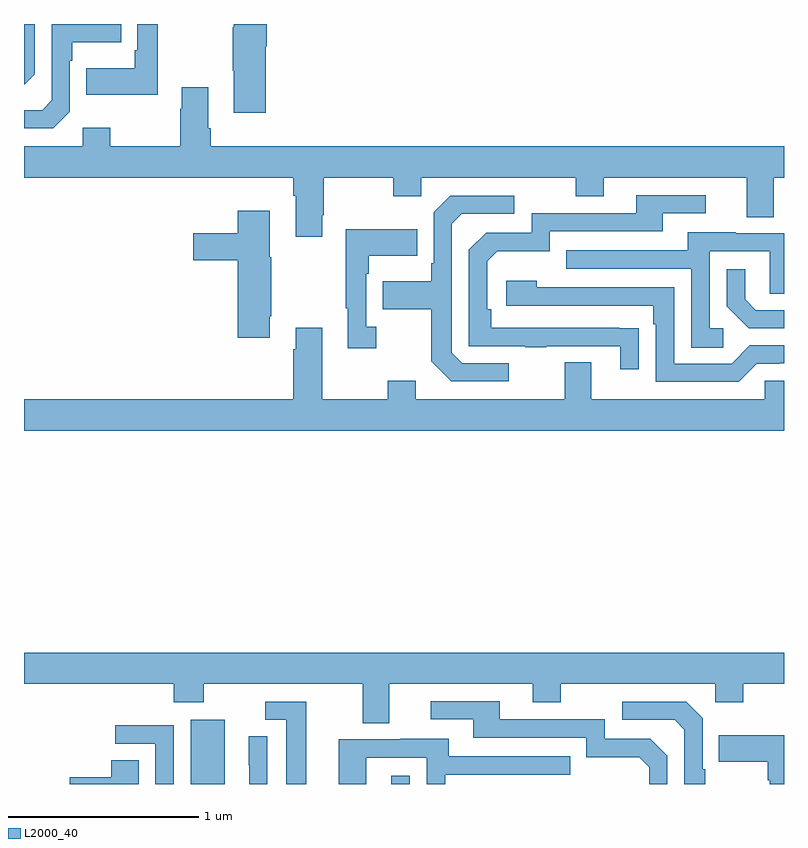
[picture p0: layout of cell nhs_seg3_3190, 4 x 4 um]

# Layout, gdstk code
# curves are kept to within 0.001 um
import gdstk
lib = gdstk.Library(unit=1e-6, precision=1e-09)
def R(c, l, rs):  # rectangles x0, y0, x1, y1
    for r in rs: c.add(gdstk.rectangle(r[:2], r[2:], *l))
def P(c, l, *ps):  # polygons
    for p in ps: c.add(gdstk.Polygon(p, *l))
L2000_40 = (2000, 40)

nhs_seg3_3190 = lib.new_cell('nhs_seg3_3190')
R(nhs_seg3_3190, L2000_40, [(277.877,688.4,278.056,688.738), (278.933,688.4,279.03,688.444)])
P(nhs_seg3_3190, L2000_40, [(277.705,692.4),(277.596,692.4),(277.596,692.263),(277.584,692.263),(277.584,692.167),(277.327,692.167),(277.327,692.027),(277.705,692.027)],
  [(278.273,692.283),(278.278,692.283),(278.278,692.4),(278.105,692.4),(278.105,692.383),(278.098,692.383),(278.098,692.155),(278.105,692.155),(278.105,691.932),(278.273,691.932)],
  [(277.242,691.938),(277.242,692.207),(277.255,692.207),(277.255,692.303),(277.511,692.303),(277.511,692.4),(277.146,692.4),(277.146,691.998),(277.095,691.947),(277,691.947),(277,691.851),(277.155,691.851)],
  [(277.056,692.136),(277.056,692.4),(277,692.4),(277,692.08)],
  [(278.569,691.393),(278.577,691.393),(278.577,691.592),(278.944,691.592),(278.944,691.493),(279.09,691.493),(279.09,691.592),(279.904,691.592),(279.904,691.493),(280.051,691.493),(280.051,691.592),(280.805,691.592),(280.805,691.384),(280.945,691.384),(280.945,691.592),(281,691.592),(281,691.756),(277.982,691.756),(277.982,691.852),(277.969,691.852),(277.969,692.068),(277.829,692.068),(277.829,691.955),(277.822,691.955),(277.822,691.756),(277.455,691.756),(277.455,691.855),(277.308,691.855),(277.308,691.756),(277,691.756),(277,691.592),(278.417,691.592),(278.417,691.496),(278.429,691.496),(278.429,691.281),(278.569,691.281)],
  [(280.235,690.8),(279.458,690.801),(279.458,690.898),(279.438,690.898),(279.438,691.152),(279.491,691.205),(279.768,691.205),(279.768,691.308),(280.363,691.308),(280.363,691.404),(280.588,691.404),(280.588,691.5),(280.223,691.5),(280.223,691.404),(279.672,691.404),(279.672,691.302),(279.432,691.302),(279.342,691.212),(279.342,690.705),(279.637,690.705),(279.637,690.7),(279.749,690.7),(279.749,690.705),(280.139,690.705),(280.139,690.582),(280.235,690.582)],
  [(279.55,690.615),(279.306,690.615),(279.252,690.669),(279.252,691.35),(279.303,691.401),(279.58,691.401),(279.58,691.497),(279.243,691.497),(279.156,691.41),(279.156,691.141),(279.144,691.141),(279.144,691.045),(278.887,691.045),(278.887,690.898),(279.144,690.898),(279.144,690.625),(279.249,690.519),(279.55,690.519)],
  [(278.293,690.862),(278.301,690.862),(278.301,691.173),(278.293,691.173),(278.293,691.417),(278.126,691.417),(278.126,691.299),(277.89,691.299),(277.89,691.157),(278.126,691.157),(278.126,690.75),(278.293,690.75)],
  [(278.854,690.806),(278.802,690.806),(278.802,691.085),(278.815,691.085),(278.815,691.181),(279.071,691.181),(279.071,691.321),(278.694,691.321),(278.694,690.905),(278.705,690.905),(278.705,690.693),(278.854,690.693)],
  [(280.681,690.798),(280.608,690.798),(280.608,691.203),(280.926,691.203),(280.926,690.979),(281,690.979),(281,691.299),(280.747,691.299),(280.747,691.303),(280.493,691.303),(280.493,691.209),(279.853,691.209),(279.853,691.113),(280.512,691.113),(280.512,690.697),(280.681,690.697)],
  [(281,690.894),(280.852,690.894),(280.795,690.951),(280.795,691.108),(280.698,691.108),(280.698,690.914),(280.814,690.798),(281,690.798)],
  [(280.857,690.612),(280.976,690.612),(280.976,690.615),(281,690.615),(281,690.708),(280.821,690.708),(280.725,690.612),(280.422,690.612),(280.422,691.014),(279.698,691.014),(279.698,691.048),(279.537,691.048),(279.537,690.918),(280.313,690.918),(280.313,690.821),(280.326,690.821),(280.326,690.516),(280.761,690.516)],
  [(281,690.522),(280.899,690.522),(280.899,690.424),(279.985,690.424),(279.985,690.619),(279.845,690.619),(279.845,690.424),(279.061,690.424),(279.061,690.523),(278.914,690.523),(278.914,690.424),(278.569,690.424),(278.569,690.802),(278.429,690.802),(278.429,690.689),(278.417,690.689),(278.417,690.424),(277,690.424),(277,690.26),(281,690.26)],
  [(278.923,688.928),(279.677,688.928),(279.677,688.829),(279.825,688.829),(279.825,688.928),(280.638,688.928),(280.638,688.829),(280.785,688.829),(280.785,688.928),(281,688.928),(281,689.092),(277,689.092),(277,688.928),(277.787,688.928),(277.787,688.829),(277.947,688.829),(277.947,688.928),(278.783,688.928),(278.783,688.72),(278.923,688.72)],
  [(280.386,688.548),(280.296,688.638),(280.056,688.638),(280.056,688.74),(279.505,688.74),(279.505,688.836),(279.141,688.836),(279.141,688.74),(279.365,688.74),(279.365,688.644),(279.96,688.644),(279.96,688.541),(280.237,688.541),(280.29,688.488),(280.29,688.4),(280.386,688.4)],
  [(278.485,688.833),(278.271,688.833),(278.271,688.737),(278.381,688.737),(278.381,688.4),(278.485,688.4)],
  [(280.585,688.477),(280.572,688.477),(280.572,688.746),(280.485,688.833),(280.149,688.833),(280.149,688.737),(280.425,688.737),(280.476,688.686),(280.476,688.4),(280.585,688.4)],
  [(277.788,688.71),(277.479,688.71),(277.479,688.611),(277.692,688.611),(277.692,688.4),(277.788,688.4)],
  [(281,688.657),(280.657,688.657),(280.657,688.517),(280.914,688.517),(280.914,688.421),(280.926,688.421),(280.926,688.4),(281,688.4)],
  [(278.28,688.652),(278.184,688.652),(278.184,688.498),(278.186,688.498),(278.186,688.4),(278.28,688.4)],
  [(278.802,688.539),(279.12,688.539),(279.12,688.4),(279.216,688.4),(279.216,688.449),(279.875,688.449),(279.875,688.545),(279.235,688.545),(279.235,688.639),(278.981,688.639),(278.981,688.635),(278.657,688.635),(278.657,688.4),(278.802,688.4)],
  [(277.603,688.526),(277.46,688.526),(277.46,688.436),(277.242,688.436),(277.242,688.4),(277.603,688.4)])

lib.write_gds('nhs_seg3_3190.gds')
